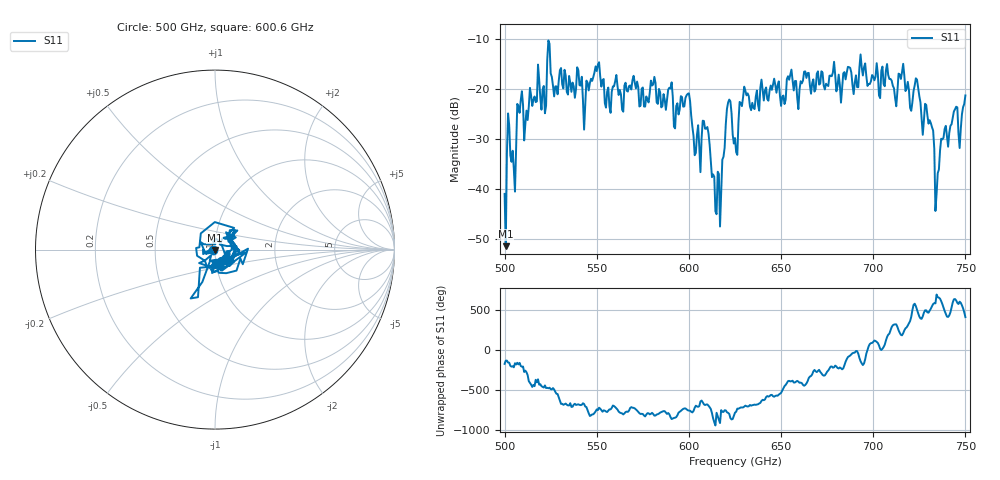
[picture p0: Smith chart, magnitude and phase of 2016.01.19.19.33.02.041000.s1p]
!Created with skrf (http://scikit-rf.org).
# GHz S RI R 50.0
!freq ReS11 ImS11
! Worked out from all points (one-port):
!   401 points, 500 GHz to 750 GHz, reference 50 ohm
!   lowest |S11| = -51.5 dB at 500.6 GHz (marker M1), VSWR 1.01, Z = 49.8 - j0.196 ohm
!   |S11| at or under -10 dB: start of sweep to end of sweep
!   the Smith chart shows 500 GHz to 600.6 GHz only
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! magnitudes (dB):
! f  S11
! 500 GHz  -41.0
! 500.6 GHz  -51.5
! 502.5 GHz  -27.3
! 505 GHz  -36.1
! 508.1 GHz  -24.8
! 521.2 GHz  -19.4
! 524.4 GHz  -11.0
! 527.5 GHz  -19.5
! 531.2 GHz  -19.1
! 543.8 GHz  -23.2
! 550 GHz  -16.5
! 562.5 GHz  -20.2
! 580.6 GHz  -19.1
! 593.8 GHz  -22.9
! 599.4 GHz  -21.0
! 605 GHz  -27.3
! 608.8 GHz  -28.0
! 615.6 GHz  -36.6
! 621.2 GHz  -22.8
! 625 GHz  -29.9
! 630.6 GHz  -20.4
! 656.2 GHz  -18.4
! 687.5 GHz  -15.8
! 718.8 GHz  -18.6
! 729.4 GHz  -25.3
! 735 GHz  -36.9
! 738.1 GHz  -29.8
! 750 GHz  -21.3
